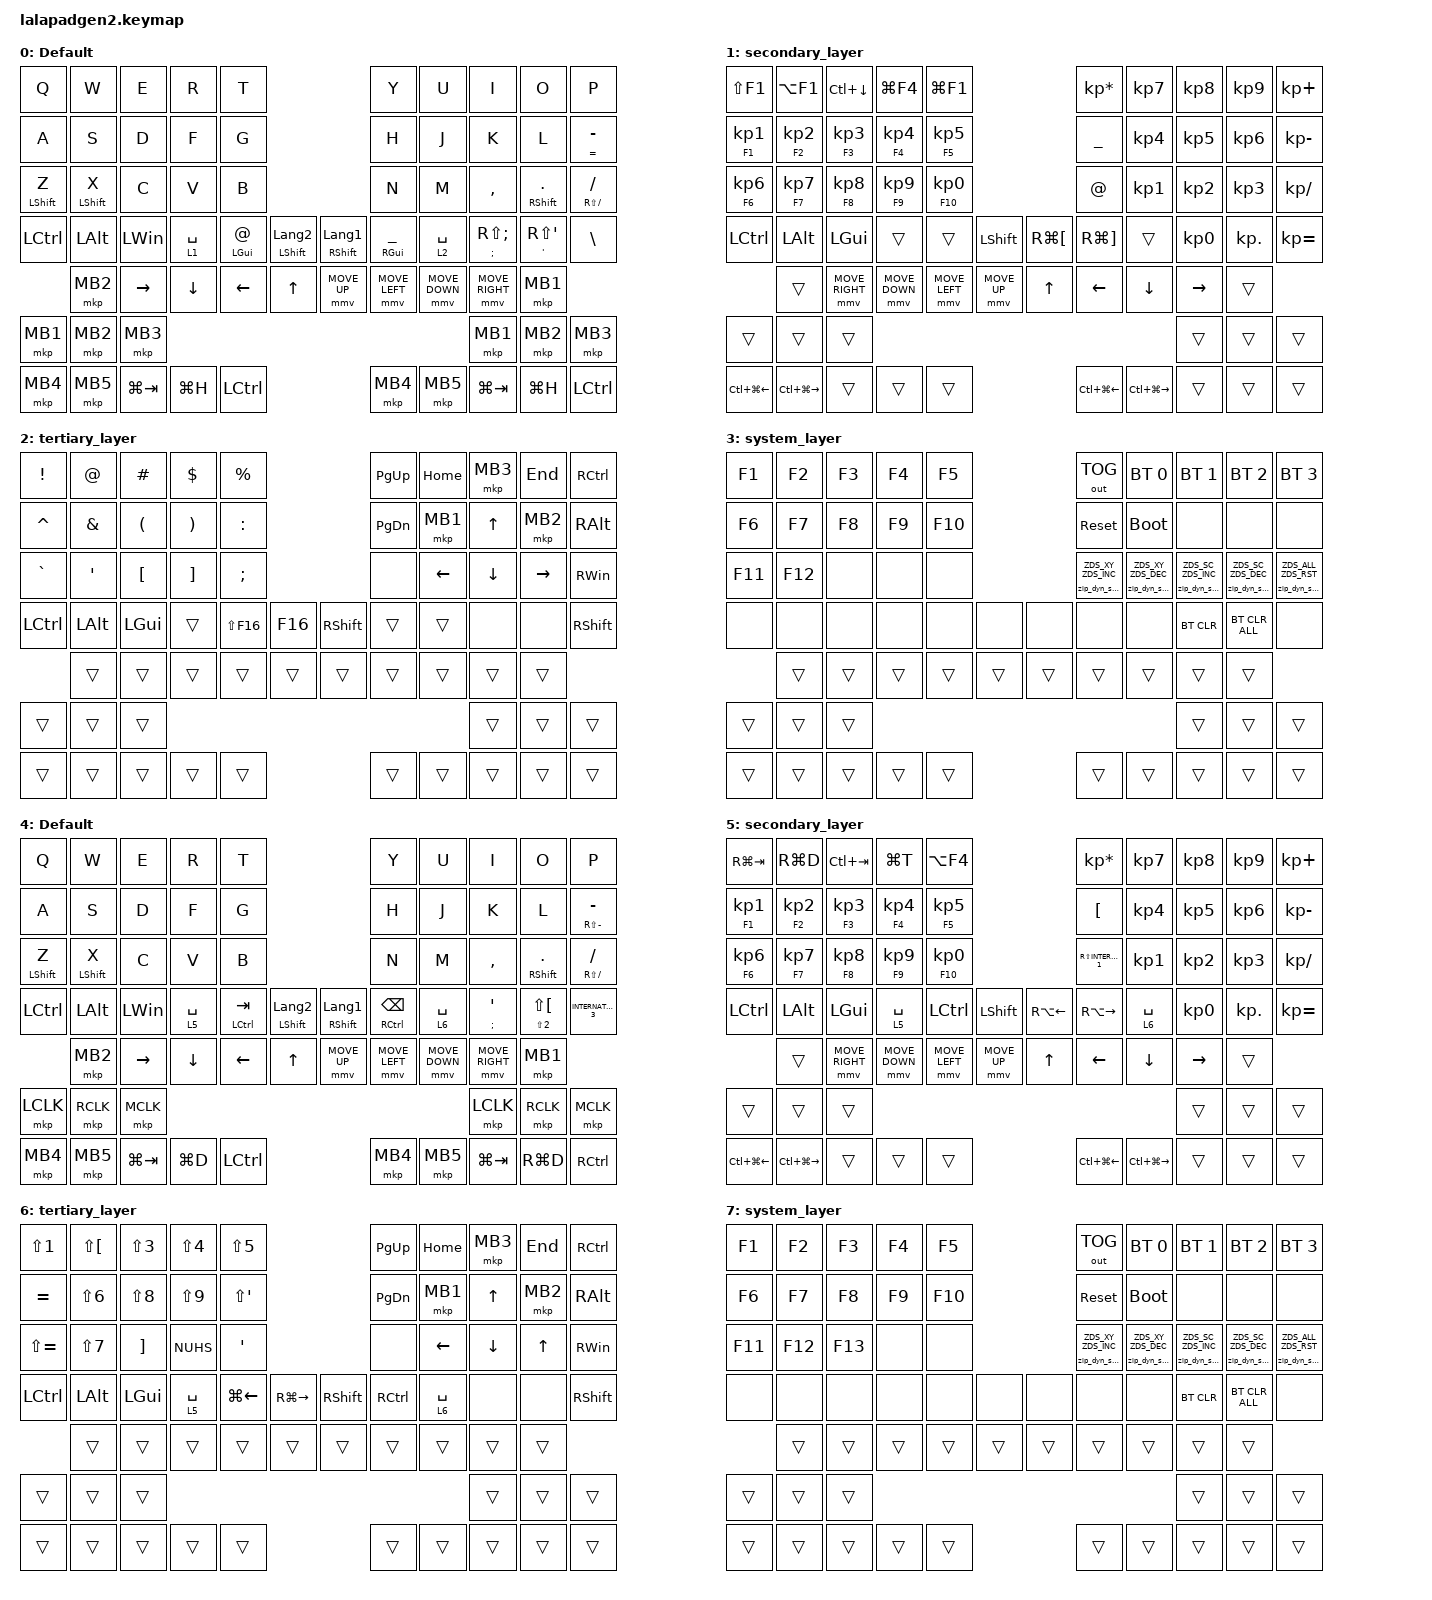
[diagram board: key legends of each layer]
#include <input/processors.dtsi>
#include <dt-bindings/zmk/zip_dynamic_scale.h>
#include <behaviors.dtsi>
#include <dt-bindings/zmk/bt.h>
#include <dt-bindings/zmk/keys.h>
#include <dt-bindings/zmk/outputs.h>
#include <dt-bindings/zmk/pointing.h>

#define DEFAULT_LAYER   0
#define SECONDARY_LAYER 1
#define TERTIARY_LAYER  2
#define SYSTEM_LAYER    3

&mt { quick-tap-ms = <200>; };

&lt { quick-tap-ms = <200>; };

/ {
    behaviors {
        zip_dyn_scale: zip_dyn_scale {
            compatible = "zmk,behavior-zip-dynamic-scale";
            #binding-cells = <2>;
        };

        zip_dyn_scale_set: zip_dyn_scale_set {
            compatible = "zmk,behavior-zip-dynamic-scale-set";
            #binding-cells = <2>;
        };

        mt2: mod_tap2 {
            compatible = "zmk,behavior-hold-tap";
            #binding-cells = <2>;
            flavor = "tap-preferred";
            tapping-term-ms = <200>;
            quick-tap-ms = <200>;
            require-prior-idle-ms = <125>;
            bindings = <&kp>, <&kp>;
        };

        tap_dance_layer_1and2: tap_dance_layer_1and2 {
            compatible = "zmk,behavior-tap-dance";
            label = "td_mo12";
            #binding-cells = <0>;
            bindings = <&mo 1>, <&mo 2>;
        };
    };

    combos {
        compatible = "zmk,combos";

        CONBO_ESC {
            bindings = <&kp ESCAPE>;
            key-positions = <1 0>;
        };

        COMBO_TAB {
            bindings = <&kp TAB>;
            key-positions = <11 12>;
        };

        BS {
            bindings = <&kp BSPC>;
            key-positions = <8 9>;
        };

        ENTR {
            bindings = <&kp ENTER>;
            key-positions = <18 17>;
        };

        Del {
            bindings = <&kp DELETE>;
            key-positions = <28 27>;
        };

        Win_Layer {
            bindings = <&to 4>;
            key-positions = <14 15>;
        };

        Def_Layer {
            bindings = <&to 0>;
            key-positions = <24 25>;
        };

        BS2 {
            bindings = <&kp BSPC>;
            key-positions = <8 7>;
        };

        ESC2 {
            bindings = <&kp ESCAPE>;
            key-positions = <1 2>;
        };
    };

    keymap {
        compatible = "zmk,keymap";

        DEFAULT_LAYER {
            display-name = "Default";
            bindings = <
&kp Q             &kp W             &kp E         &kp R        &kp T                                                                   &kp Y                &kp U           &kp I                         &kp O                   &kp P
&kp A             &kp S             &kp D         &kp F        &kp G                                                                   &kp H                &kp J           &kp K                         &kp L                   &mt2 EQUAL MINUS
&mt LEFT_SHIFT Z  &mt LEFT_SHIFT X  &kp C         &kp V        &kp B                                                                   &kp N                &kp M           &kp COMMA                     &mt RIGHT_SHIFT PERIOD  &mt2 RS(SLASH) SLASH
&kp LCTRL         &kp LEFT_ALT      &kp LEFT_WIN  &lt 1 SPACE  &mt LEFT_GUI AT  &mt LEFT_SHIFT LANGUAGE_2  &mt RIGHT_SHIFT LANGUAGE_1  &mt RIGHT_GUI UNDER  &lt 2 SPACE     &mt2 SEMICOLON RS(SEMICOLON)  &mt2 SQT RS(SQT)        &kp BACKSLASH
                  &mkp MB2          &kp RIGHT     &kp DOWN     &kp LEFT         &kp UP                     &mmv MOVE_UP                &mmv MOVE_LEFT       &mmv MOVE_DOWN  &mmv MOVE_RIGHT               &mkp MB1
&mkp MB1          &mkp MB2          &mkp MB3                                                                                                                                &mkp MB1                      &mkp MB2                &mkp MB3
&mkp MB4          &mkp MB5          &kp LG(TAB)   &kp LG(H)    &kp LCTRL                                                               &mkp MB4             &mkp MB5        &kp LG(TAB)                   &kp LG(H)               &kp LCTRL
            >;
        };

        SECONDARY_LAYER {
            display-name = "secondary_layer";
            bindings = <
&kp LS(F1)           &kp LA(F1)           &kp LC(DOWN_ARROW)   &kp LG(F4)           &kp LG(F1)                                                  &kp KP_ASTERISK        &kp KP_NUMBER_7    &kp KP_NUMBER_8  &kp KP_NUMBER_9  &kp KP_PLUS
&mt2 F1 KP_NUMBER_1  &mt2 F2 KP_NUMBER_2  &mt2 F3 KP_NUMBER_3  &mt2 F4 KP_NUMBER_4  &mt2 F5 KP_NUMBER_5                                         &kp UNDERSCORE         &kp KP_NUMBER_4    &kp KP_NUMBER_5  &kp KP_NUMBER_6  &kp KP_MINUS
&mt2 F6 KP_NUMBER_6  &mt2 F7 KP_NUMBER_7  &mt2 F8 KP_NUMBER_8  &mt2 F9 KP_NUMBER_9  &mt2 F10 KP_NUMBER_0                                        &kp AT_SIGN            &kp KP_NUMBER_1    &kp KP_NUMBER_2  &kp KP_NUMBER_3  &kp KP_DIVIDE
&kp LCTRL            &kp LALT             &kp LGUI             &trans               &trans                &kp LEFT_SHIFT  &kp RG(LEFT_BRACKET)  &kp RG(RIGHT_BRACKET)  &trans             &kp KP_NUMBER_0  &kp KP_DOT       &kp KP_EQUAL
                     &trans               &mmv MOVE_RIGHT      &mmv MOVE_DOWN       &mmv MOVE_LEFT        &mmv MOVE_UP    &kp UP_ARROW          &kp LEFT_ARROW         &kp DOWN           &kp RIGHT_ARROW  &trans
&trans               &trans               &trans                                                                                                                                          &trans           &trans           &trans
&kp LC(LG(LEFT))     &kp LC(LG(RIGHT))    &trans               &trans               &trans                                                      &kp LC(LG(LEFT))       &kp LC(LG(RIGHT))  &trans           &trans           &trans
            >;
        };

        TERTIARY_LAYER {
            display-name = "tertiary_layer";
            bindings = <
&kp EXCLAMATION  &kp AT_SIGN    &kp HASH              &kp DOLLAR             &kp PERCENT                              &kp PAGE_UP    &kp HOME        &mkp MB3        &kp END          &kp RIGHT_CONTROL
&kp CARET        &kp AMPERSAND  &kp LEFT_PARENTHESIS  &kp RIGHT_PARENTHESIS  &kp COLON                                &kp PAGE_DOWN  &mkp MB1        &kp UP_ARROW    &mkp MB2         &kp RIGHT_ALT
&kp GRAVE        &kp SQT        &kp LEFT_BRACKET      &kp RIGHT_BRACKET      &kp SEMICOLON                            &none          &kp LEFT_ARROW  &kp DOWN_ARROW  &kp RIGHT_ARROW  &kp RIGHT_WIN
&kp LCTRL        &kp LALT       &kp LGUI              &trans                 &kp LS(F16)    &kp F16  &kp RIGHT_SHIFT  &trans         &trans          &none           &none            &kp RIGHT_SHIFT
                 &trans         &trans                &trans                 &trans         &trans   &trans           &trans         &trans          &trans          &trans
&trans           &trans         &trans                                                                                                               &trans          &trans           &trans
&trans           &trans         &trans                &trans                 &trans                                   &trans         &trans          &trans          &trans           &trans
            >;
        };

        SYSTEM_LAYER {
            display-name = "system_layer";
            bindings = <
&kp F1   &kp F2   &kp F3  &kp F4  &kp F5                   &out OUT_TOG                   &bt BT_SEL 0                   &bt BT_SEL 1                   &bt BT_SEL 2                   &bt BT_SEL 3
&kp F6   &kp F7   &kp F8  &kp F9  &kp F10                  &sys_reset                     &bootloader                    &none                          &none                          &none
&kp F11  &kp F12  &none   &none   &none                    &zip_dyn_scale ZDS_XY ZDS_INC  &zip_dyn_scale ZDS_XY ZDS_DEC  &zip_dyn_scale ZDS_SC ZDS_INC  &zip_dyn_scale ZDS_SC ZDS_DEC  &zip_dyn_scale ZDS_ALL ZDS_RST
&none    &none    &none   &none   &none    &none   &none   &none                          &none                          &bt BT_CLR                     &bt BT_CLR_ALL                 &none
         &trans   &trans  &trans  &trans   &trans  &trans  &trans                         &trans                         &trans                         &trans
&trans   &trans   &trans                                                                                                 &trans                         &trans                         &trans
&trans   &trans   &trans  &trans  &trans                   &trans                         &trans                         &trans                         &trans                         &trans
            >;
        };

        Win_Layer {
            display-name = "Default";
            bindings = <
&kp Q             &kp W             &kp E         &kp R        &kp T                                                                 &kp Y                        &kp U           &kp I                        &kp O                               &kp P
&kp A             &kp S             &kp D         &kp F        &kp G                                                                 &kp H                        &kp J           &kp K                        &kp L                               &mt2 RS(MINUS) MINUS
&mt LEFT_SHIFT Z  &mt LEFT_SHIFT X  &kp C         &kp V        &kp B                                                                 &kp N                        &kp M           &kp COMMA                    &mt RIGHT_SHIFT DOT                 &mt2 RS(SLASH) SLASH
&kp LCTRL         &kp LEFT_ALT      &kp LEFT_WIN  &lt 5 SPACE  &mt LCTRL TAB  &mt LEFT_SHIFT LANGUAGE_2  &mt RIGHT_SHIFT LANGUAGE_1  &mt RIGHT_CONTROL BACKSPACE  &lt 6 SPACE     &mt2 SEMICOLON SINGLE_QUOTE  &mt2 LS(NUMBER_2) LS(LEFT_BRACKET)  &kp INTERNATIONAL_3
                  &mkp MB2          &kp RIGHT     &kp DOWN     &kp LEFT       &kp UP                     &mmv MOVE_UP                &mmv MOVE_LEFT               &mmv MOVE_DOWN  &mmv MOVE_RIGHT              &mkp MB1
&mkp LCLK         &mkp RCLK         &mkp MCLK                                                                                                                                     &mkp LCLK                    &mkp RCLK                           &mkp MCLK
&mkp MB4          &mkp MB5          &kp LG(TAB)   &kp LG(D)    &kp LCTRL                                                             &mkp MB4                     &mkp MB5        &kp LG(TAB)                  &kp RG(D)                           &kp RCTRL
            >;
        };

        Win_Secondary {
            display-name = "secondary_layer";
            bindings = <
&kp RG(TAB)          &kp RG(D)            &kp LC(TAB)          &kp LG(T)            &kp LA(F4)                                          &kp KP_ASTERISK          &kp KP_NUMBER_7    &kp KP_NUMBER_8  &kp KP_NUMBER_9  &kp KP_PLUS
&mt2 F1 KP_NUMBER_1  &mt2 F2 KP_NUMBER_2  &mt2 F3 KP_NUMBER_3  &mt2 F4 KP_NUMBER_4  &mt2 F5 KP_NUMBER_5                                 &kp LEFT_BRACKET         &kp KP_NUMBER_4    &kp KP_NUMBER_5  &kp KP_NUMBER_6  &kp KP_MINUS
&mt2 F6 KP_NUMBER_6  &mt2 F7 KP_NUMBER_7  &mt2 F8 KP_NUMBER_8  &mt2 F9 KP_NUMBER_9  &mt2 F10 KP_NUMBER_0                                &kp RS(INTERNATIONAL_1)  &kp KP_NUMBER_1    &kp KP_NUMBER_2  &kp KP_NUMBER_3  &kp KP_SLASH
&kp LCTRL            &kp LALT             &kp LGUI             &lt 5 SPACE          &kp LEFT_CONTROL      &kp LEFT_SHIFT  &kp RA(LEFT)  &kp RA(RIGHT_ARROW)      &lt 6 SPACE        &kp KP_NUMBER_0  &kp KP_DOT       &kp KP_EQUAL
                     &trans               &mmv MOVE_RIGHT      &mmv MOVE_DOWN       &mmv MOVE_LEFT        &mmv MOVE_UP    &kp UP_ARROW  &kp LEFT_ARROW           &kp DOWN           &kp RIGHT_ARROW  &trans
&trans               &trans               &trans                                                                                                                                    &trans           &trans           &trans
&kp LC(LG(LEFT))     &kp LC(LG(RIGHT))    &trans               &trans               &trans                                              &kp LC(LG(LEFT))         &kp LC(LG(RIGHT))  &trans           &trans           &trans
            >;
        };

        Win_Tertiary {
            display-name = "tertiary_layer";
            bindings = <
&kp LS(N1)     &kp LS(LEFT_BRACKET)  &kp LS(NUMBER_3)   &kp LS(NUMBER_4)  &kp LS(N5)                                             &kp PAGE_UP    &kp HOME        &mkp MB3        &kp END       &kp RCTRL
&kp EQUAL      &kp LS(NUMBER_6)      &kp LS(NUMBER_8)   &kp LS(NUMBER_9)  &kp LS(SINGLE_QUOTE)                                   &kp PAGE_DOWN  &mkp MB1        &kp UP_ARROW    &mkp MB2      &kp RIGHT_ALT
&kp LS(EQUAL)  &kp LS(N7)            &kp RIGHT_BRACKET  &kp NUHS          &kp SINGLE_QUOTE                                       &none          &kp LEFT_ARROW  &kp DOWN_ARROW  &kp UP_ARROW  &kp RIGHT_WIN
&kp LCTRL      &kp LALT              &kp LGUI           &lt 5 SPACE       &kp LG(LEFT)          &kp RG(RIGHT_ARROW)  &kp RSHIFT  &kp RCTRL      &lt 6 SPACE     &none           &none         &kp RIGHT_SHIFT
               &trans                &trans             &trans            &trans                &trans               &trans      &trans         &trans          &trans          &trans
&trans         &trans                &trans                                                                                                                     &trans          &trans        &trans
&trans         &trans                &trans             &trans            &trans                                                 &trans         &trans          &trans          &trans        &trans
            >;
        };

        Win_Syslayer {
            display-name = "system_layer";
            bindings = <
&kp F1   &kp F2   &kp F3   &kp F4  &kp F5                   &out OUT_TOG                   &bt BT_SEL 0                   &bt BT_SEL 1                   &bt BT_SEL 2                   &bt BT_SEL 3
&kp F6   &kp F7   &kp F8   &kp F9  &kp F10                  &sys_reset                     &bootloader                    &none                          &none                          &none
&kp F11  &kp F12  &kp F13  &none   &none                    &zip_dyn_scale ZDS_XY ZDS_INC  &zip_dyn_scale ZDS_XY ZDS_DEC  &zip_dyn_scale ZDS_SC ZDS_INC  &zip_dyn_scale ZDS_SC ZDS_DEC  &zip_dyn_scale ZDS_ALL ZDS_RST
&none    &none    &none    &none   &none    &none   &none   &none                          &none                          &bt BT_CLR                     &bt BT_CLR_ALL                 &none
         &trans   &trans   &trans  &trans   &trans  &trans  &trans                         &trans                         &trans                         &trans
&trans   &trans   &trans                                                                                                  &trans                         &trans                         &trans
&trans   &trans   &trans   &trans  &trans                   &trans                         &trans                         &trans                         &trans                         &trans
            >;
        };
    };

    conditional_layers {
        compatible = "zmk,conditional-layers";

        Cond_Syslayer {
            if-layers = <1 2>;
            then-layer = <3>;
        };

        Cond_Syslayer_2 {
            if-layers = <5 6>;
            then-layer = <7>;
        };
    };
};
